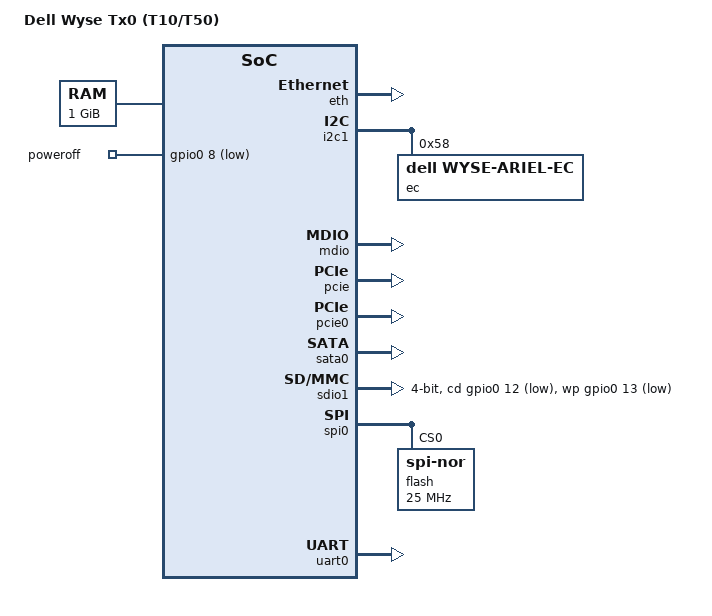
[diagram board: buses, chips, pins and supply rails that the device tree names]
// SPDX-License-Identifier: GPL-2.0
/*
 * Copyright (C) 2018-2023
 * bodhi <mibodhi@gmail.com>
 * Koen
 */

/dts-v1/;
#include <dt-bindings/gpio/gpio.h>
#include "dove.dtsi"

/ {
	model = "Dell Wyse Tx0 (T10/T50)";
	compatible = "wyse,tx0", "marvell,dove";

	aliases {
		serial0 = &uart0;
	};

	chosen {
		stdout-path = "serial0:115200n8";
	};

	memory {
		device_type = "memory";
		reg = <0x00000000 0x40000000>;
	};

	poweroff {
		compatible = "gpio-poweroff";
		gpios = <&gpio0 8 GPIO_ACTIVE_LOW>;
		pinctrl-0 = <&pmx_gpio_8>;
		pinctrl-names = "default";
	};
};

&eth { status = "okay"; };

&ethphy {
	reg = <1>;
};

&i2c {
	pinctrl-0 = <&pmx_i2c1>;
	pinctrl-names = "default";
};

&i2c1 {
	status = "okay";

	ec@58 {
		compatible = "dell,wyse-ariel-ec", "ene,kb3930";
		reg = <0x58>;
	};
};

&mdio { status = "okay"; };

&pcie { status = "okay"; };

&pcie0 { status = "okay"; };

&sata0 { status = "okay"; };

&sdio1 {
	status = "okay";

	bus-width = <4>;
	cd-gpios = <&gpio0 12 GPIO_ACTIVE_LOW>;
	wp-gpios = <&gpio0 13 GPIO_ACTIVE_LOW>;
};

&spi0 {
	status = "okay";

	flash@0 {
		compatible = "jedec,spi-nor";
		reg = <0>;
		spi-max-frequency = <25000000>;
	};
};

&uart0 { status = "okay"; };
